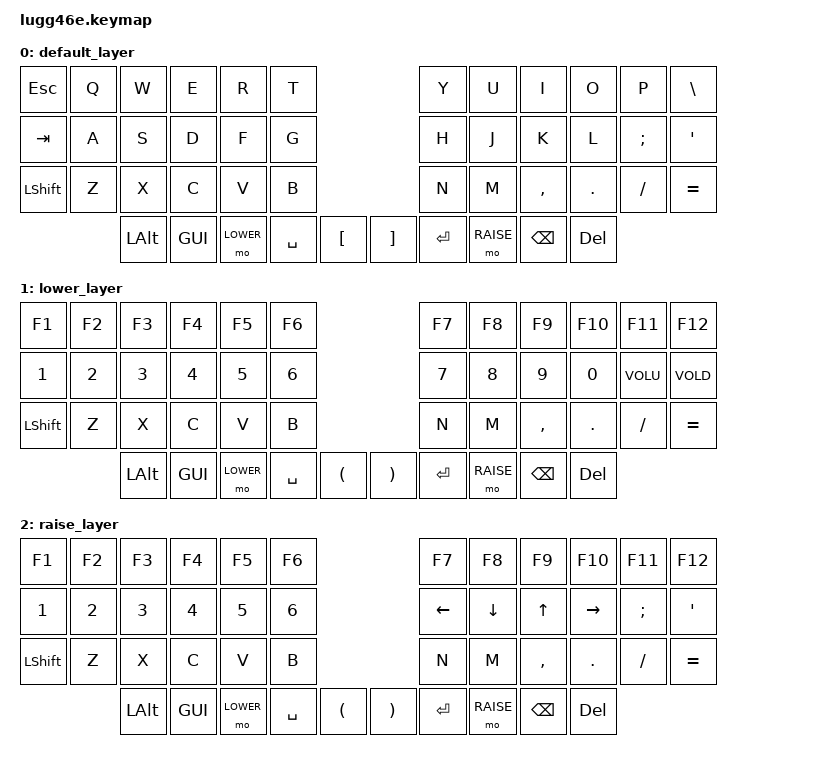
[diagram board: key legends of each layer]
#include <behaviors.dtsi>
#include <dt-bindings/zmk/keys.h>
#include <dt-bindings/zmk/bt.h>

#define DEFAULT 0
#define LOWER   1
#define RAISE   2

/ {
    keymap {
        compatible = "zmk,keymap";

        default_layer {
// ------------------------------------------------------------------------------------------------------------------------------------------------
// |  ESC    |    Q    |    W    |    E    |    R    |    T    |                      |    Y    |    U    |    I    |    O    |    P    |    \    |
// |  SHIFT  |    A    |    S    |    D    |    F    |    G    |                      |    H    |    J    |    K    |    L    |    ;    |    '    |
// |  SHIFT  |    Z    |    X    |    C    |    V    |    B    |                      |    N    |    M    |    ,    |    .    |    /    |    =    |
//                     |   LALT  |   GUI   |  LOWER  |   SPC   |   LBKT  |  |  RBKT   |   RET   |  RAISE  |    /    |  R CTRL |
            bindings = <
    &kp ESC    &kp Q    &kp W     &kp E     &kp R     &kp T                            &kp Y     &kp U     &kp I     &kp O     &kp P     &kp BSLH
    &kp TAB    &kp A    &kp S     &kp D     &kp F     &kp G                            &kp H     &kp J     &kp K     &kp L     &kp SEMI  &kp SQT
    &kp LSHIFT &kp Z    &kp X     &kp C     &kp V     &kp B                            &kp N     &kp M     &kp COMMA &kp DOT   &kp FSLH  &kp EQL
                        &kp LALT  &kp GUI   &mo LOWER &kp SPACE &kp LBKT      &kp RBKT &kp RET   &mo RAISE &kp BSPC  &kp DEL
            >;
        };
        
        lower_layer {
// ------------------------------------------------------------------------------------------------------------------------------------------------
// |  F1     |   F2    |   F3    |   F4    |   F5    |   F6    |                      |   F7    |   F8    |   F9    |   F10   |   F11   |   F12   |
// |  1      |   2     |   3     |   4     |   5     |   6     |                      |   7     |   8     |   9     |    0    |  VOLU   |  VOLD   |
// |  SHIFT  |    Z    |    X    |    C    |    V    |    B    |                      |    N    |    M    |    <    |    >    |    ?    |    +    |
//                     |   LALT  |   GUI   |  LOWER  |   SPC   | KP_LPAR |  | KP_RPAR |   RET   |  RAISE  |    /    |  R CTRL |
            bindings = <
    &kp F1    &kp F2    &kp F3    &kp F4    &kp F5    &kp F6                           &kp F7    &kp F8    &kp F9    &kp F10   &kp F11   &kp F12
    &kp N1    &kp N2    &kp N3    &kp N4    &kp N5    &kp N6                           &kp N7    &kp N8    &kp N9    &kp N0    &kp VOLU  &kp VOLD
    &kp LSHIFT &kp Z    &kp X     &kp C     &kp V     &kp B                            &kp N     &kp M     &kp COMMA &kp DOT   &kp FSLH  &kp EQL
                        &kp LALT  &kp GUI   &mo LOWER &kp SPACE &kp LPAR     &kp RPAR  &kp RET   &mo RAISE &kp BSPC  &kp DEL
            >;
        };
        
        raise_layer {
// ------------------------------------------------------------------------------------------------------------------------------------------------
// |  F1     |   F2    |   F3    |   F4    |   F5    |   F6    |                      |   F7    |   F8    |   F9    |   F10   |   F11   |   F12   |
// |  1      |   2     |   3     |   4     |   5     |   6     |                      |  LEFT   |  DOWN   |   UP    |  RIGHT  |         |         |
// |  SHIFT  |    Z    |    X    |    C    |    V    |    B    |                      |    N    |    M    |    <    |    >    |    ?    |    +    |
//                     |  LALT   |   GUI   |  LOWER  |   SPC   | KP_LPAR |  | KP_RPAR |   RET   |  RAISE  |    /    |  R CTRL |
            bindings = <
    &kp F1    &kp F2    &kp F3    &kp F4    &kp F5    &kp F6                           &kp F7    &kp F8    &kp F9    &kp F10   &kp F11   &kp F12
    &kp N1    &kp N2    &kp N3    &kp N4    &kp N5    &kp N6                           &kp LEFT  &kp DOWN  &kp UP    &kp RIGHT &kp SEMI  &kp SQT
    &kp LSHIFT &kp Z    &kp X     &kp C     &kp V     &kp B                            &kp N     &kp M     &kp COMMA &kp DOT   &kp FSLH  &kp EQL
                        &kp LALT  &kp GUI   &mo LOWER &kp SPACE &kp LPAR     &kp RPAR  &kp RET   &mo RAISE &kp BSPC  &kp DEL
            >;
        };
    };
};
